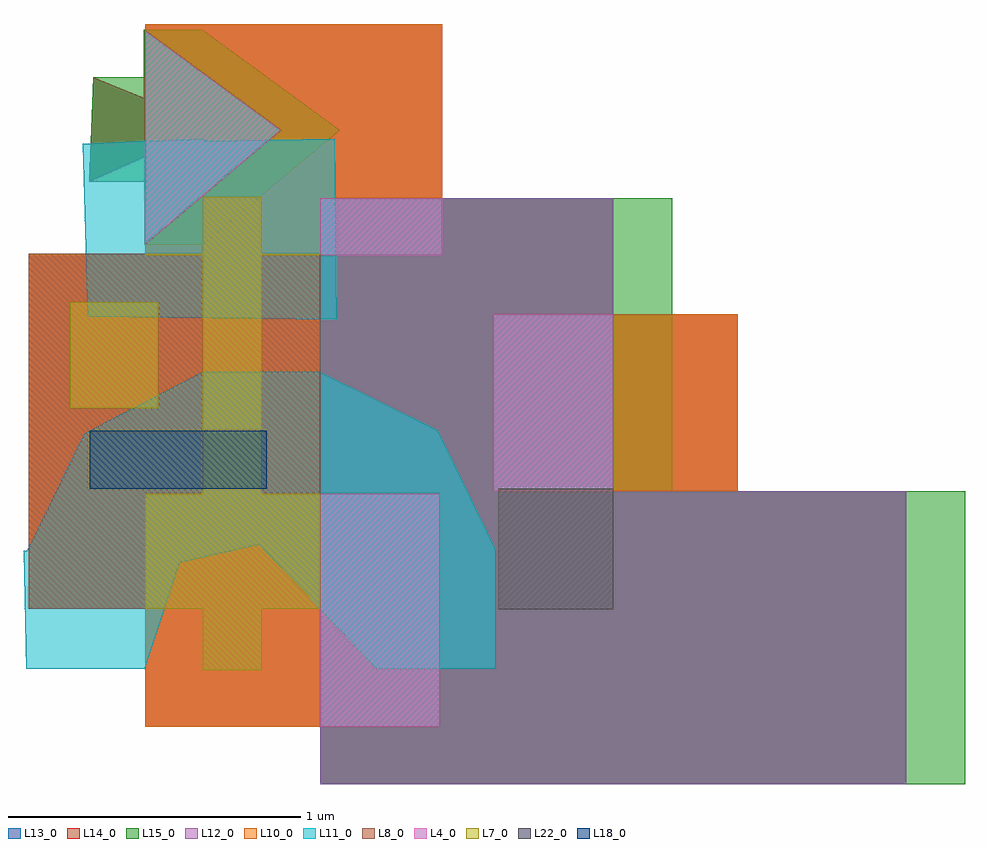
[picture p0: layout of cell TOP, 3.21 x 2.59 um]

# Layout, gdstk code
import gdstk
lib = gdstk.Library(unit=1e-6, precision=1e-09)
def R(c, l, rs):  # rectangles x0, y0, x1, y1
    for r in rs: c.add(gdstk.rectangle(r[:2], r[2:], *l))
def P(c, l, *ps):  # polygons
    for p in ps: c.add(gdstk.Polygon(p, *l))
L4_0 = (4, 0)
L5_0 = (5, 0)
L6_0 = (6, 0)
L7_0 = (7, 0)
L8_0 = (8, 0)
L10_0 = (10, 0)
L11_0 = (11, 0)
L12_0 = (12, 0)
L13_0 = (13, 0)
L14_0 = (14, 0)
L15_0 = (15, 0)
L18_0 = (18, 0)
L19_0 = (19, 0)
L20_0 = (20, 0)
L22_0 = (22, 0)
L24_0 = (24, 0)
L25_0 = (25, 0)
L26_0 = (26, 0)

top = lib.new_cell('TOP')
R(top, L4_0, [(0,0.196,0.407,0.991), (0.589,1,1,1.603), (0,1.804,0.416,2)])
P(top, L4_0, [(-0.598,1.842),(-0.598,2.571),(-0.135,2.232)])
R(top, L7_0, [(-0.854,1.283,-0.553,1.644)])
P(top, L7_0, [(-0.402,0.388),(-0.402,0.598),(-0.598,0.598),(-0.598,0.991),(-0.402,0.991),(-0.402,1.804),(-0.598,1.804),(-0.598,1.809),(-0.402,1.809),(-0.402,2.005),(-0.201,2.005),(-0.201,1.809),(0,1.809),(0,1.804),(-0.201,1.804),(-0.201,0.991),(0,0.991),(0,0.598),(-0.201,0.598),(-0.201,0.388)])
R(top, L8_0, [(-0.402,0.388,-0.201,2.005), (-0.996,0.598,0,1.809)])
R(top, L10_0, [(1,1,1.425,1.603)])
P(top, L10_0, [(-0.598,0.196),(-0.598,0.598),(-0.996,0.598),(-0.996,1.809),(-0.598,1.809),(-0.598,1.842),(-0.135,2.232),(-0.598,2.571),(-0.598,2.594),(0.416,2.594),(0.416,2),(0,2),(0,0.196)])
P(top, L11_0, [(0.193,0.391),(-0.209,0.816),(-0.481,0.755),(-0.599,0.394),(-1.005,0.394),(-1.012,0.796),(-1.001,0.796),(-0.804,1.197),(-0.401,1.407),(-0.002,1.407),(0.401,1.207),(0.599,0.799),(0.599,0.394)],
  [(0.056,1.585),(-0.795,1.594),(-0.812,2.185),(-0.804,2.185),(-0.632,2.193),(-0.63,2.193),(-0.397,2.203),(-0.397,2.202),(-0.391,2.196),(0.048,2.203)])
P(top, L12_0, [(0,0),(0,2),(1,2),(1,1),(2,1),(2,0)])
P(top, L13_0, [(0,0),(0,0.196),(-0.598,0.196),(-0.598,0.598),(-0.996,0.598),(-0.996,1.809),(-0.598,1.809),(-0.598,1.842),(-0.6,1.84),(-0.602,2.139),(-0.789,2.056),(-0.776,2.413),(-0.603,2.343),(-0.604,2.575),(-0.598,2.571),(-0.598,2.594),(0.416,2.594),(0.416,2),(1,2),(1,1.603),(1.425,1.603),(1.425,1),(2,1),(2,0)])
P(top, L14_0, [(0,0),(0,0.196),(-0.598,0.196),(-0.598,0.598),(-0.996,0.598),(-0.996,0.991),(0,0.991),(0,0.196),(0.407,0.196),(0.407,0.991),(-0.996,0.991),(-0.996,1.603),(0.589,1.603),(0.589,1),(1,1),(1,1.603),(-0.996,1.603),(-0.996,1.809),(-0.598,1.809),(-0.598,1.842),(-0.6,1.84),(-0.602,2.139),(-0.789,2.056),(-0.776,2.413),(-0.603,2.343),(-0.604,2.571),(-0.598,2.571),(-0.598,1.842),(-0.41,2),(0,2),(0,1.804),(0.416,1.804),(0.416,2),(-0.41,2),(-0.135,2.232),(-0.598,2.571),(-0.604,2.571),(-0.604,2.575),(-0.598,2.571),(-0.598,2.594),(0.416,2.594),(0.416,2),(1,2),(1,1.603),(1.425,1.603),(1.425,1),(2,1),(2,0)])
P(top, L15_0, [(-0.789,2.056),(-0.776,2.413),(-0.576,2.413),(-0.161,2.246),(-0.589,2.056)],
  [(-0.6,1.84),(-0.604,2.575),(-0.404,2.575),(0.065,2.232),(-0.4,1.84)],
  [(0,0),(0,2),(1.2,2),(1.2,1),(2.2,1),(2.2,0)])
R(top, L18_0, [(-0.788,1.007,-0.184,1.205)])
R(top, L22_0, [(0.607,0.597,1,1.008)])
top.add(gdstk.FlexPath([(-0.402,0.997),(-0.599,0.394)], 0, ends="flush", simple_path=True, layer=5, datatype=0))  # L5_0
top.add(gdstk.FlexPath([(-1.001,0.796),(-0.804,1.198)], 0, ends="flush", simple_path=True, layer=5, datatype=0))  # L5_0
top.add(gdstk.FlexPath([(-0.598,0.196),(-0.598,0.598)], 0, ends="flush", simple_path=True, layer=6, datatype=0))  # L6_0
top.add(gdstk.FlexPath([(-0.598,0.598),(-0.996,0.598)], 0, ends="flush", simple_path=True, layer=6, datatype=0))  # L6_0
top.add(gdstk.FlexPath([(-0.996,1.809),(-0.598,1.809)], 0, ends="flush", simple_path=True, layer=6, datatype=0))  # L6_0
top.add(gdstk.FlexPath([(0,0.991),(0.407,0.991)], 0, ends="flush", simple_path=True, layer=6, datatype=0))  # L6_0
top.add(gdstk.FlexPath([(0.416,1.804),(0,1.804)], 0, ends="flush", simple_path=True, layer=6, datatype=0))  # L6_0
top.add(gdstk.FlexPath([(0,0.393),(-0.398,0.393)], 0, ends="flush", simple_path=True, layer=19, datatype=0))  # L19_0
top.add(gdstk.FlexPath([(0,0.198),(-0.398,0.198)], 0, ends="flush", simple_path=True, layer=19, datatype=0))  # L19_0
top.add(gdstk.FlexPath([(-0.398,0.796),(0,0.796)], 0, ends="flush", simple_path=True, layer=19, datatype=0))  # L19_0
top.add(gdstk.FlexPath([(-0.398,1.008),(0,1.008)], 0, ends="flush", simple_path=True, layer=19, datatype=0))  # L19_0
top.add(gdstk.FlexPath([(1,0.597),(0.607,0.597)], 0, ends="flush", simple_path=True, layer=19, datatype=0))  # L19_0
top.add(gdstk.FlexPath([(1,0.198),(0.607,0.198)], 0, ends="flush", simple_path=True, layer=19, datatype=0))  # L19_0
top.add(gdstk.FlexPath([(1,1.008),(1,0.597)], 0, ends="flush", simple_path=True, layer=19, datatype=0))  # L19_0
top.add(gdstk.FlexPath([(1.193,1.008),(1.193,0.597)], 0, ends="flush", simple_path=True, layer=19, datatype=0))  # L19_0
top.add(gdstk.FlexPath([(2,1),(2,0)], 0, ends="flush", simple_path=True, layer=20, datatype=0))  # L20_0
top.add(gdstk.FlexPath([(0,2),(1,2)], 0, ends="flush", simple_path=True, layer=20, datatype=0))  # L20_0
top.add(gdstk.FlexPath([(1,2),(1,1)], 0, ends="flush", simple_path=True, layer=20, datatype=0))  # L20_0
top.add(gdstk.FlexPath([(1,1),(2,1)], 0, ends="flush", simple_path=True, layer=20, datatype=0))  # L20_0
top.add(gdstk.FlexPath([(1,1),(1,2)], 0, ends="flush", simple_path=True, layer=26, datatype=0))  # L26_0
top.add(gdstk.FlexPath([(1,2),(2,1)], 0, ends="flush", simple_path=True, layer=26, datatype=0))  # L26_0
top.add(gdstk.FlexPath([(2,1),(1,1)], 0, ends="flush", simple_path=True, layer=26, datatype=0))  # L26_0
top.add(gdstk.FlexPath([(-0.2,1.283),(-0.053,1.283)], 0, ends="flush", simple_path=True, layer=24, datatype=0))  # L24_0
top.add(gdstk.FlexPath([(-0.401,1.283),(-0.202,1.283)], 0, ends="flush", simple_path=True, layer=24, datatype=0))  # L24_0
top.add(gdstk.FlexPath([(-0.552,1.283),(-0.403,1.283)], 0, ends="flush", simple_path=True, layer=24, datatype=0))  # L24_0
top.add(gdstk.FlexPath([(-0.853,1.283),(-0.554,1.283)], 0, ends="flush", simple_path=True, layer=24, datatype=0))  # L24_0
top.add(gdstk.FlexPath([(-1.354,1.283),(-0.855,1.283)], 0, ends="flush", simple_path=True, layer=24, datatype=0))  # L24_0
top.add(gdstk.FlexPath([(-0.854,1.282),(-0.854,0.783)], 0, ends="flush", simple_path=True, layer=24, datatype=0))  # L24_0
top.add(gdstk.FlexPath([(-0.854,1.643),(-0.854,1.284)], 0, ends="flush", simple_path=True, layer=24, datatype=0))  # L24_0
top.add(gdstk.FlexPath([(-0.854,2.144),(-0.854,1.645)], 0, ends="flush", simple_path=True, layer=24, datatype=0))  # L24_0
top.add(gdstk.FlexPath([(-0.553,1.645),(-0.553,2.144)], 0, ends="flush", simple_path=True, layer=24, datatype=0))  # L24_0
top.add(gdstk.FlexPath([(-0.553,1.284),(-0.553,1.643)], 0, ends="flush", simple_path=True, layer=24, datatype=0))  # L24_0
top.add(gdstk.FlexPath([(-0.553,0.783),(-0.553,1.282)], 0, ends="flush", simple_path=True, layer=24, datatype=0))  # L24_0
top.add(gdstk.FlexPath([(-0.402,1.282),(-0.402,-0.112)], 0, ends="flush", simple_path=True, layer=24, datatype=0))  # L24_0
top.add(gdstk.FlexPath([(-0.402,1.643),(-0.402,1.284)], 0, ends="flush", simple_path=True, layer=24, datatype=0))  # L24_0
top.add(gdstk.FlexPath([(-0.402,2.505),(-0.402,1.645)], 0, ends="flush", simple_path=True, layer=24, datatype=0))  # L24_0
top.add(gdstk.FlexPath([(-0.201,1.645),(-0.201,2.505)], 0, ends="flush", simple_path=True, layer=24, datatype=0))  # L24_0
top.add(gdstk.FlexPath([(-0.201,1.284),(-0.201,1.643)], 0, ends="flush", simple_path=True, layer=24, datatype=0))  # L24_0
top.add(gdstk.FlexPath([(-0.201,-0.112),(-0.201,1.282)], 0, ends="flush", simple_path=True, layer=24, datatype=0))  # L24_0
top.add(gdstk.FlexPath([(-0.855,1.644),(-1.354,1.644)], 0, ends="flush", simple_path=True, layer=24, datatype=0))  # L24_0
top.add(gdstk.FlexPath([(-0.554,1.644),(-0.853,1.644)], 0, ends="flush", simple_path=True, layer=24, datatype=0))  # L24_0
top.add(gdstk.FlexPath([(-0.403,1.644),(-0.552,1.644)], 0, ends="flush", simple_path=True, layer=24, datatype=0))  # L24_0
top.add(gdstk.FlexPath([(-0.202,1.644),(-0.401,1.644)], 0, ends="flush", simple_path=True, layer=24, datatype=0))  # L24_0
top.add(gdstk.FlexPath([(-0.053,1.644),(-0.2,1.644)], 0, ends="flush", simple_path=True, layer=24, datatype=0))  # L24_0
top.add(gdstk.FlexPath([(-0.853,1.282),(-0.853,1.282)], 0, ends="flush", simple_path=True, layer=24, datatype=0))  # L24_0
top.add(gdstk.FlexPath([(-0.554,1.282),(-0.554,1.282)], 0, ends="flush", simple_path=True, layer=24, datatype=0))  # L24_0
top.add(gdstk.FlexPath([(-0.401,1.282),(-0.401,1.282)], 0, ends="flush", simple_path=True, layer=24, datatype=0))  # L24_0
top.add(gdstk.FlexPath([(-0.202,1.282),(-0.202,1.282)], 0, ends="flush", simple_path=True, layer=24, datatype=0))  # L24_0
top.add(gdstk.FlexPath([(-0.854,1.283),(-0.854,1.283)], 0, ends="flush", simple_path=True, layer=24, datatype=0))  # L24_0
top.add(gdstk.FlexPath([(-0.553,1.283),(-0.553,1.283)], 0, ends="flush", simple_path=True, layer=24, datatype=0))  # L24_0
top.add(gdstk.FlexPath([(-0.402,1.283),(-0.402,1.283)], 0, ends="flush", simple_path=True, layer=24, datatype=0))  # L24_0
top.add(gdstk.FlexPath([(-0.201,1.283),(-0.201,1.283)], 0, ends="flush", simple_path=True, layer=24, datatype=0))  # L24_0
top.add(gdstk.FlexPath([(-0.855,1.284),(-0.855,1.284)], 0, ends="flush", simple_path=True, layer=24, datatype=0))  # L24_0
top.add(gdstk.FlexPath([(-0.552,1.284),(-0.552,1.284)], 0, ends="flush", simple_path=True, layer=24, datatype=0))  # L24_0
top.add(gdstk.FlexPath([(-0.403,1.284),(-0.403,1.284)], 0, ends="flush", simple_path=True, layer=24, datatype=0))  # L24_0
top.add(gdstk.FlexPath([(-0.2,1.284),(-0.2,1.284)], 0, ends="flush", simple_path=True, layer=24, datatype=0))  # L24_0
top.add(gdstk.FlexPath([(-0.855,1.643),(-0.855,1.643)], 0, ends="flush", simple_path=True, layer=24, datatype=0))  # L24_0
top.add(gdstk.FlexPath([(-0.552,1.643),(-0.552,1.643)], 0, ends="flush", simple_path=True, layer=24, datatype=0))  # L24_0
top.add(gdstk.FlexPath([(-0.403,1.643),(-0.403,1.643)], 0, ends="flush", simple_path=True, layer=24, datatype=0))  # L24_0
top.add(gdstk.FlexPath([(-0.2,1.643),(-0.2,1.643)], 0, ends="flush", simple_path=True, layer=24, datatype=0))  # L24_0
top.add(gdstk.FlexPath([(-0.854,1.644),(-0.854,1.644)], 0, ends="flush", simple_path=True, layer=24, datatype=0))  # L24_0
top.add(gdstk.FlexPath([(-0.553,1.644),(-0.553,1.644)], 0, ends="flush", simple_path=True, layer=24, datatype=0))  # L24_0
top.add(gdstk.FlexPath([(-0.402,1.644),(-0.402,1.644)], 0, ends="flush", simple_path=True, layer=24, datatype=0))  # L24_0
top.add(gdstk.FlexPath([(-0.201,1.644),(-0.201,1.644)], 0, ends="flush", simple_path=True, layer=24, datatype=0))  # L24_0
top.add(gdstk.FlexPath([(-0.853,1.645),(-0.853,1.645)], 0, ends="flush", simple_path=True, layer=24, datatype=0))  # L24_0
top.add(gdstk.FlexPath([(-0.554,1.645),(-0.554,1.645)], 0, ends="flush", simple_path=True, layer=24, datatype=0))  # L24_0
top.add(gdstk.FlexPath([(-0.401,1.645),(-0.401,1.645)], 0, ends="flush", simple_path=True, layer=24, datatype=0))  # L24_0
top.add(gdstk.FlexPath([(-0.202,1.645),(-0.202,1.645)], 0, ends="flush", simple_path=True, layer=24, datatype=0))  # L24_0
top.add(gdstk.FlexPath([(-0.353,0.991),(-0.798,0.991)], 0, ends="flush", simple_path=True, layer=25, datatype=0))  # L25_0
top.add(gdstk.FlexPath([(-0.798,1.283),(-0.554,1.283)], 0, ends="flush", simple_path=True, layer=25, datatype=0))  # L25_0
top.add(gdstk.FlexPath([(-0.552,1.283),(-0.403,1.283)], 0, ends="flush", simple_path=True, layer=25, datatype=0))  # L25_0
top.add(gdstk.FlexPath([(-0.401,1.283),(-0.353,1.283)], 0, ends="flush", simple_path=True, layer=25, datatype=0))  # L25_0
top.add(gdstk.FlexPath([(-0.353,1.644),(-0.401,1.644)], 0, ends="flush", simple_path=True, layer=25, datatype=0))  # L25_0
top.add(gdstk.FlexPath([(-0.403,1.644),(-0.552,1.644)], 0, ends="flush", simple_path=True, layer=25, datatype=0))  # L25_0
top.add(gdstk.FlexPath([(-0.554,1.644),(-0.798,1.644)], 0, ends="flush", simple_path=True, layer=25, datatype=0))  # L25_0
top.add(gdstk.FlexPath([(-0.402,1.844),(-0.402,1.805)], 0, ends="flush", simple_path=True, layer=25, datatype=0))  # L25_0
top.add(gdstk.FlexPath([(-0.402,1.803),(-0.402,1.645)], 0, ends="flush", simple_path=True, layer=25, datatype=0))  # L25_0
top.add(gdstk.FlexPath([(-0.402,1.643),(-0.402,1.284)], 0, ends="flush", simple_path=True, layer=25, datatype=0))  # L25_0
top.add(gdstk.FlexPath([(-0.402,1.282),(-0.402,1.083)], 0, ends="flush", simple_path=True, layer=25, datatype=0))  # L25_0
top.add(gdstk.FlexPath([(-0.798,1.804),(-0.554,1.804)], 0, ends="flush", simple_path=True, layer=25, datatype=0))  # L25_0
top.add(gdstk.FlexPath([(-0.552,1.804),(-0.403,1.804)], 0, ends="flush", simple_path=True, layer=25, datatype=0))  # L25_0
top.add(gdstk.FlexPath([(-0.401,1.804),(-0.353,1.804)], 0, ends="flush", simple_path=True, layer=25, datatype=0))  # L25_0
top.add(gdstk.FlexPath([(-0.553,1.083),(-0.553,1.282)], 0, ends="flush", simple_path=True, layer=25, datatype=0))  # L25_0
top.add(gdstk.FlexPath([(-0.553,1.284),(-0.553,1.643)], 0, ends="flush", simple_path=True, layer=25, datatype=0))  # L25_0
top.add(gdstk.FlexPath([(-0.553,1.645),(-0.553,1.803)], 0, ends="flush", simple_path=True, layer=25, datatype=0))  # L25_0
top.add(gdstk.FlexPath([(-0.553,1.805),(-0.553,1.844)], 0, ends="flush", simple_path=True, layer=25, datatype=0))  # L25_0
top.add(gdstk.FlexPath([(-0.554,1.282),(-0.554,1.282)], 0, ends="flush", simple_path=True, layer=25, datatype=0))  # L25_0
top.add(gdstk.FlexPath([(-0.401,1.282),(-0.401,1.282)], 0, ends="flush", simple_path=True, layer=25, datatype=0))  # L25_0
top.add(gdstk.FlexPath([(-0.553,1.283),(-0.553,1.283)], 0, ends="flush", simple_path=True, layer=25, datatype=0))  # L25_0
top.add(gdstk.FlexPath([(-0.402,1.283),(-0.402,1.283)], 0, ends="flush", simple_path=True, layer=25, datatype=0))  # L25_0
top.add(gdstk.FlexPath([(-0.552,1.284),(-0.552,1.284)], 0, ends="flush", simple_path=True, layer=25, datatype=0))  # L25_0
top.add(gdstk.FlexPath([(-0.403,1.284),(-0.403,1.284)], 0, ends="flush", simple_path=True, layer=25, datatype=0))  # L25_0
top.add(gdstk.FlexPath([(-0.552,1.643),(-0.552,1.643)], 0, ends="flush", simple_path=True, layer=25, datatype=0))  # L25_0
top.add(gdstk.FlexPath([(-0.403,1.643),(-0.403,1.643)], 0, ends="flush", simple_path=True, layer=25, datatype=0))  # L25_0
top.add(gdstk.FlexPath([(-0.553,1.644),(-0.553,1.644)], 0, ends="flush", simple_path=True, layer=25, datatype=0))  # L25_0
top.add(gdstk.FlexPath([(-0.402,1.644),(-0.402,1.644)], 0, ends="flush", simple_path=True, layer=25, datatype=0))  # L25_0
top.add(gdstk.FlexPath([(-0.554,1.645),(-0.554,1.645)], 0, ends="flush", simple_path=True, layer=25, datatype=0))  # L25_0
top.add(gdstk.FlexPath([(-0.401,1.645),(-0.401,1.645)], 0, ends="flush", simple_path=True, layer=25, datatype=0))  # L25_0
top.add(gdstk.FlexPath([(-0.554,1.803),(-0.554,1.803)], 0, ends="flush", simple_path=True, layer=25, datatype=0))  # L25_0
top.add(gdstk.FlexPath([(-0.401,1.803),(-0.401,1.803)], 0, ends="flush", simple_path=True, layer=25, datatype=0))  # L25_0
top.add(gdstk.FlexPath([(-0.553,1.804),(-0.553,1.804)], 0, ends="flush", simple_path=True, layer=25, datatype=0))  # L25_0
top.add(gdstk.FlexPath([(-0.402,1.804),(-0.402,1.804)], 0, ends="flush", simple_path=True, layer=25, datatype=0))  # L25_0
top.add(gdstk.FlexPath([(-0.552,1.805),(-0.552,1.805)], 0, ends="flush", simple_path=True, layer=25, datatype=0))  # L25_0
top.add(gdstk.FlexPath([(-0.403,1.805),(-0.403,1.805)], 0, ends="flush", simple_path=True, layer=25, datatype=0))  # L25_0

lib.write_gds('TOP.gds')
